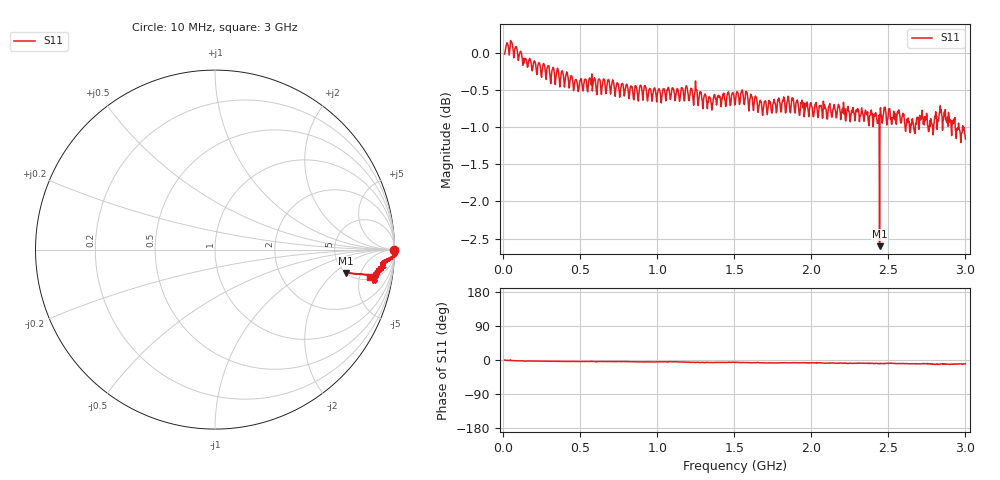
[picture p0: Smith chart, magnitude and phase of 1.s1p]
# HZ S RI R 50
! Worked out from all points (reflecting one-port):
!   1010 points, 10 MHz to 3 GHz, reference 50 ohm
!   lowest |S11| = -2.6 dB at 2.443 GHz (marker M1), VSWR 6.73, Z = 251 - j144 ohm
!   phase of S11 starts at -0 deg and turns -10 deg over the sweep
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1e7  0.9981 -0.00228
4.555996e7  1.008 -0.0236
1.522398e8  0.9871 -0.0479
3.863429e8  0.9695 -0.0619
7.597225e8  0.9376 -0.0666
8.871457e8  0.9455 -0.085
1.133102e9  0.9422 -0.0796
1.293122e9  0.9219 -0.1009
1.506482e9  0.9187 -0.0963
1.705025e9  0.9191 -0.1236
1.879861e9  0.925 -0.1177
2.039881e9  0.9039 -0.1189
2.099148e9  0.8987 -0.1299
2.253241e9  0.8881 -0.1374
2.321397e9  0.8975 -0.1371
2.404371e9  0.8904 -0.1379
2.442894e9  0.7297 -0.1299
2.457711e9  0.8908 -0.1434
2.460674e9  0.8843 -0.1497
2.463637e9  0.8894 -0.145
2.514014e9  0.8928 -0.1312
2.62662e9  0.8844 -0.1531
2.74219e9  0.8911 -0.1594
2.774787e9  0.8896 -0.1565
2.819237e9  0.8843 -0.1631
2.84887e9  0.8914 -0.162
2.905173e9  0.8829 -0.1746
3e9  0.8616 -0.1537
